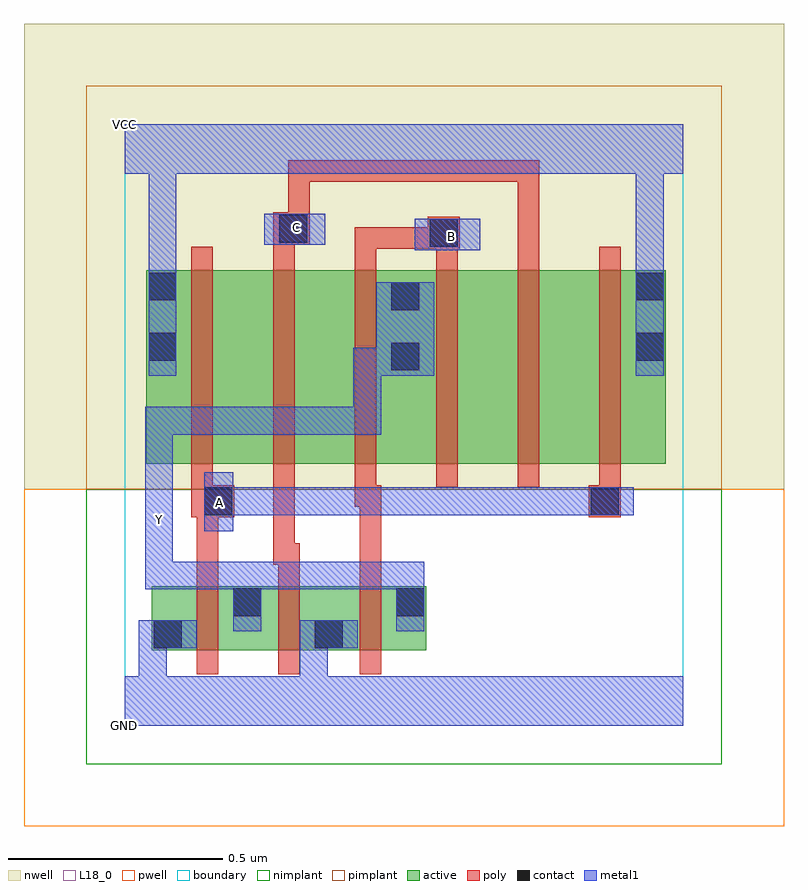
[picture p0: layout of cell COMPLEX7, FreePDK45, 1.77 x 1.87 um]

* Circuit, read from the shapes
.subckt COMPLEX7 A B C GND VCC Y
M1 Y A GND VSUBS nfet w=0.15u l=0.05u
M2 GND C Y VSUBS nfet w=0.15u l=0.05u
M3 Y B GND VSUBS nfet w=0.15u l=0.05u
M4 n1 A VCC n2 pfet w=0.45u l=0.05u
M5 n3 C n1 n2 pfet w=0.45u l=0.05u
M6 Y B n3 n2 pfet w=0.45u l=0.05u
M7 n4 B Y n2 pfet w=0.45u l=0.05u
M8 n5 C n4 n2 pfet w=0.45u l=0.05u
M9 VCC A n5 n2 pfet w=0.45u l=0.05u
.ends

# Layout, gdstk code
import gdstk
lib = gdstk.Library(unit=1e-6, precision=1e-09)
def R(c, l, rs):  # rectangles x0, y0, x1, y1
    for r in rs: c.add(gdstk.rectangle(r[:2], r[2:], *l))
def A(c, l, x, y, w, h, nx, ny, dx, dy):  # array of equal rectangles
    R(c, l, [(x+i*dx, y+j*dy, x+i*dx+w, y+j*dy+h) for i in range(nx) for j in range(ny)])
active = (1, 0)
pwell = (2, 0)
nwell = (3, 0)
nimplant = (4, 0)
pimplant = (5, 0)
poly = (9, 0)
contact = (10, 0)
metal1 = (11, 0)
L18_0 = (18, 0)
boundary = (235, 0)

complex7 = lib.new_cell('COMPLEX7')
R(complex7, active, [(0.062,0.175,0.322,0.325), (0.062,0.175,0.137,0.325), (0.247,0.175,0.512,0.325), (0.437,0.175,0.702,0.325), (0.437,0.175,0.512,0.275), (0.247,0.2,0.322,0.325), (0.627,0.2,0.702,0.325), (0.05,0.61,0.125,1.06), (0.05,0.61,0.275,1.06), (0.275,0.61,0.465,1.06), (0.465,0.61,0.69,1.06), (0.615,0.61,0.845,1.06), (0.845,0.61,1.035,1.06), (1.035,0.61,1.26,1.06), (1.185,0.61,1.26,1.06), (0.615,0.625,0.69,1.06)])
R(complex7, pwell, [(-0.235,-0.235,1.535,0.55)])
R(complex7, nwell, [(-0.235,0.55,1.535,1.635)])
R(complex7, nimplant, [(-0.09,-0.09,1.39,0.55)])
R(complex7, pimplant, [(-0.09,0.55,1.39,1.49)])
A(complex7, poly, 0.167, 0.12, 0.05, 0.26, 3, 1, 0.19, 0)
A(complex7, poly, 0.155, 0.555, 0.05, 0.56, 6, 1, 0.19, 0)
R(complex7, poly, [(0.167,0.33,0.217,0.535), (0.357,0.33,0.407,0.425), (0.547,0.33,0.597,0.56), (0.345,0.375,0.395,0.605), (0.345,0.375,0.407,0.425), (0.155,0.485,0.255,0.56), (1.08,0.485,1.155,0.56), (0.155,0.51,0.205,0.605), (0.535,0.51,0.585,0.605), (0.535,0.51,0.597,0.56), (1.105,0.51,1.155,0.605), (0.345,1.065,0.395,1.17), (0.535,1.065,0.585,1.16), (0.725,1.065,0.775,1.16), (0.915,1.065,0.965,1.317), (0.535,1.11,0.585,1.16), (0.535,1.11,0.692,1.16), (0.642,1.11,0.692,1.16), (0.642,1.11,0.755,1.16), (0.705,1.11,0.78,1.185), (0.345,1.12,0.43,1.195), (0.38,1.145,0.43,1.317), (0.38,1.267,0.43,1.317), (0.38,1.267,0.43,1.317), (0.38,1.267,0.43,1.317), (0.38,1.267,0.562,1.317), (0.512,1.267,0.562,1.317), (0.512,1.267,0.65,1.317), (0.6,1.267,0.65,1.317), (0.6,1.267,0.832,1.317), (0.782,1.267,0.832,1.317), (0.782,1.267,0.89,1.317), (0.84,1.267,0.89,1.317), (0.84,1.267,0.965,1.317), (0.915,1.267,0.965,1.317), (0.915,1.267,0.965,1.317), (0.915,1.267,0.965,1.317)])
R(complex7, contact, [(0.067,0.18,0.132,0.245), (0.442,0.18,0.507,0.245), (0.252,0.255,0.317,0.32), (0.632,0.255,0.697,0.32), (0.185,0.49,0.25,0.555), (1.085,0.49,1.15,0.555), (0.62,0.827,0.685,0.892), (0.055,0.85,0.12,0.915), (1.19,0.85,1.255,0.915), (0.62,0.967,0.685,1.032), (0.055,0.99,0.12,1.055), (1.19,0.99,1.255,1.055), (0.71,1.115,0.775,1.18), (0.36,1.125,0.425,1.19)])
R(complex7, metal1, [(0,0,1.3,0.115), (0.032,0.05,0.097,0.115), (0.032,0.05,0.097,0.115), (0.032,0.05,0.097,0.115), (0.032,0.05,0.097,0.115), (0.032,0.05,0.097,0.245), (0.407,0.05,0.472,0.115), (0.407,0.05,0.472,0.115), (0.407,0.05,0.472,0.245), (0.032,0.18,0.167,0.245), (0.407,0.18,0.472,0.245), (0.407,0.18,0.472,0.245), (0.407,0.18,0.542,0.245), (0.252,0.22,0.317,0.382), (0.632,0.22,0.697,0.382), (0.047,0.317,0.112,0.382), (0.047,0.317,0.112,0.382), (0.047,0.317,0.112,0.382), (0.047,0.317,0.317,0.382), (0.047,0.317,0.112,0.477), (0.252,0.317,0.427,0.382), (0.362,0.317,0.427,0.382), (0.362,0.317,0.485,0.382), (0.42,0.317,0.485,0.382), (0.42,0.317,0.597,0.382), (0.532,0.317,0.597,0.382), (0.532,0.317,0.697,0.382), (0.047,0.412,0.112,0.547), (0.185,0.452,0.252,0.59), (0.047,0.482,0.112,0.742), (0.187,0.49,0.252,0.555), (0.187,0.49,0.252,0.555), (0.187,0.49,0.427,0.555), (0.362,0.49,0.427,0.555), (0.362,0.49,0.5,0.555), (0.435,0.49,0.5,0.555), (0.435,0.49,0.565,0.555), (0.5,0.49,0.565,0.555), (0.5,0.49,0.737,0.555), (0.672,0.49,0.737,0.555), (0.672,0.49,0.8,0.555), (0.735,0.49,0.8,0.555), (0.735,0.49,0.875,0.555), (0.81,0.49,0.875,0.555), (0.81,0.49,0.977,0.555), (0.912,0.49,0.977,0.555), (0.912,0.49,1.012,0.555), (0.947,0.49,1.012,0.555), (0.947,0.49,1.115,0.555), (1.05,0.49,1.185,0.555), (0.047,0.677,0.112,0.742), (0.047,0.677,0.122,0.742), (0.057,0.677,0.122,0.742), (0.057,0.677,0.335,0.742), (0.27,0.677,0.335,0.742), (0.27,0.677,0.427,0.742), (0.362,0.677,0.427,0.742), (0.362,0.677,0.497,0.742), (0.432,0.677,0.497,0.742), (0.432,0.677,0.597,0.742), (0.532,0.677,0.597,0.88), (0.055,0.815,0.12,1.09), (0.532,0.815,0.65,0.88), (0.585,0.815,0.72,1.032), (1.19,0.815,1.255,1.09), (0.055,1.025,0.12,1.35), (0.055,1.025,0.12,1.09), (0.055,1.025,0.12,1.09), (0.055,1.025,0.12,1.09), (0.055,1.025,0.12,1.09), (1.19,1.025,1.255,1.35), (1.19,1.025,1.255,1.09), (1.19,1.025,1.255,1.09), (0.675,1.107,0.827,1.18), (0.325,1.12,0.467,1.192), (0,1.285,1.3,1.4), (1.19,1.285,1.255,1.35), (1.19,1.285,1.255,1.35)])
R(complex7, L18_0, [(0,0,1.3,0.115), (0.032,0.05,0.097,0.115), (0.032,0.05,0.097,0.115), (0.032,0.05,0.097,0.115), (0.032,0.05,0.097,0.115), (0.032,0.05,0.097,0.245), (0.407,0.05,0.472,0.115), (0.407,0.05,0.472,0.115), (0.407,0.05,0.472,0.245), (0.032,0.18,0.167,0.245), (0.407,0.18,0.472,0.245), (0.407,0.18,0.472,0.245), (0.407,0.18,0.542,0.245), (0.252,0.22,0.317,0.382), (0.632,0.22,0.697,0.382), (0.047,0.317,0.112,0.382), (0.047,0.317,0.112,0.382), (0.047,0.317,0.112,0.382), (0.047,0.317,0.112,0.477), (0.047,0.317,0.317,0.382), (0.252,0.317,0.427,0.382), (0.362,0.317,0.427,0.382), (0.362,0.317,0.485,0.382), (0.42,0.317,0.485,0.382), (0.42,0.317,0.597,0.382), (0.532,0.317,0.597,0.382), (0.532,0.317,0.697,0.382), (0.047,0.412,0.112,0.547), (0.047,0.447,0.112,0.512), (0.185,0.452,0.252,0.59), (0.047,0.482,0.112,0.742), (0.187,0.487,0.252,0.552), (0.187,0.49,0.252,0.555), (0.187,0.49,0.252,0.555), (0.187,0.49,0.427,0.555), (0.362,0.49,0.427,0.555), (0.362,0.49,0.5,0.555), (0.435,0.49,0.5,0.555), (0.435,0.49,0.565,0.555), (0.5,0.49,0.565,0.555), (0.5,0.49,0.737,0.555), (0.672,0.49,0.737,0.555), (0.672,0.49,0.8,0.555), (0.735,0.49,0.8,0.555), (0.735,0.49,0.875,0.555), (0.81,0.49,0.875,0.555), (0.81,0.49,0.977,0.555), (0.912,0.49,0.977,0.555), (0.912,0.49,1.012,0.555), (0.947,0.49,1.012,0.555), (0.947,0.49,1.115,0.555), (1.05,0.49,1.185,0.555), (0.047,0.677,0.112,0.742), (0.047,0.677,0.122,0.742), (0.057,0.677,0.122,0.742), (0.057,0.677,0.335,0.742), (0.27,0.677,0.335,0.742), (0.27,0.677,0.427,0.742), (0.362,0.677,0.427,0.742), (0.362,0.677,0.497,0.742), (0.432,0.677,0.497,0.742), (0.432,0.677,0.597,0.742), (0.532,0.677,0.597,0.88), (0.055,0.815,0.12,1.09), (0.532,0.815,0.65,0.88), (0.585,0.815,0.72,1.032), (1.19,0.815,1.255,1.09), (0.055,1.025,0.12,1.09), (0.055,1.025,0.12,1.09), (0.055,1.025,0.12,1.09), (0.055,1.025,0.12,1.09), (0.055,1.025,0.12,1.35), (1.19,1.025,1.255,1.09), (1.19,1.025,1.255,1.09), (1.19,1.025,1.255,1.35), (0.675,1.107,0.827,1.18), (0.727,1.107,0.792,1.172), (0.325,1.12,0.467,1.192), (0.367,1.127,0.432,1.192), (0,1.285,1.3,1.4), (1.19,1.285,1.255,1.35), (1.19,1.285,1.255,1.35)])
R(complex7, boundary, [(0,0,1.3,1.4)])
complex7.add(gdstk.Label('A', (0.22,0.52), layer=11, texttype=0))
complex7.add(gdstk.Label('B', (0.76,1.14), layer=11, texttype=0))
complex7.add(gdstk.Label('C', (0.4,1.16), layer=11, texttype=0))
complex7.add(gdstk.Label('Y', (0.08,0.48), layer=11, texttype=0))
complex7.add(gdstk.Label('VCC', (0,1.4), layer=11, texttype=0))
complex7.add(gdstk.Label('GND', (0,0), layer=11, texttype=0))

lib.write_gds('COMPLEX7.gds')
